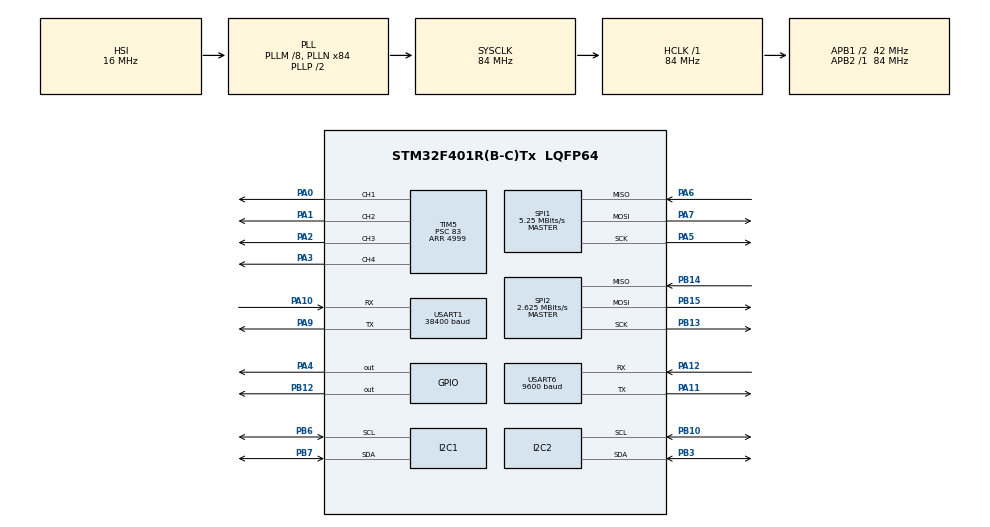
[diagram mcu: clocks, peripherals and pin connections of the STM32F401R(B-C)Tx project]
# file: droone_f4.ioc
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Dma.Request0=USART6_RX
Dma.Request1=USART6_TX
Dma.USART6_RX.0.Direction=DMA_PERIPH_TO_MEMORY
Dma.USART6_RX.0.FIFOMode=DMA_FIFOMODE_DISABLE
Dma.USART6_RX.0.Instance=DMA2_Stream1
Dma.USART6_RX.0.MemDataAlignment=DMA_MDATAALIGN_BYTE
Dma.USART6_RX.0.MemInc=DMA_MINC_ENABLE
Dma.USART6_RX.0.Mode=DMA_NORMAL
Dma.USART6_RX.0.PeriphDataAlignment=DMA_PDATAALIGN_BYTE
Dma.USART6_RX.0.PeriphInc=DMA_PINC_DISABLE
Dma.USART6_RX.0.Priority=DMA_PRIORITY_LOW
Dma.USART6_TX.1.Direction=DMA_MEMORY_TO_PERIPH
Dma.USART6_TX.1.FIFOMode=DMA_FIFOMODE_DISABLE
Dma.USART6_TX.1.Instance=DMA2_Stream6
Dma.USART6_TX.1.MemDataAlignment=DMA_MDATAALIGN_BYTE
Dma.USART6_TX.1.MemInc=DMA_MINC_ENABLE
Dma.USART6_TX.1.Mode=DMA_NORMAL
Dma.USART6_TX.1.PeriphDataAlignment=DMA_PDATAALIGN_BYTE
Dma.USART6_TX.1.PeriphInc=DMA_PINC_DISABLE
Dma.USART6_TX.1.Priority=DMA_PRIORITY_LOW
Mcu.Family=STM32F4
Mcu.Name=STM32F401R(B-C)Tx
Mcu.Package=LQFP64
NVIC.DMA2_Stream1_IRQn=true\:0\:0\:false\:false\:true\:false\:true\:true
NVIC.DMA2_Stream6_IRQn=true\:0\:0\:false\:false\:true\:false\:true\:true
NVIC.PriorityGroup=NVIC_PRIORITYGROUP_4
NVIC.USART1_IRQn=true\:0\:0\:false\:false\:true\:true\:true\:true
NVIC.USART6_IRQn=true\:0\:0\:false\:false\:true\:false\:true\:true
PA0-WKUP.Signal=S_TIM5_CH1
PA1.Signal=S_TIM5_CH2
PA10.Mode=Asynchronous
PA10.Signal=USART1_RX
PA11.Mode=Asynchronous
PA11.Signal=USART6_TX
PA12.Mode=Asynchronous
PA12.Signal=USART6_RX
PA13.Mode=Serial_Wire
PA13.Signal=SYS_JTMS-SWDIO
PA14.Mode=Serial_Wire
PA14.Signal=SYS_JTCK-SWCLK
PA2.Signal=S_TIM5_CH3
PA3.Signal=S_TIM5_CH4
PA4.GPIO_PuPd=GPIO_NOPULL
PA4.PinState=GPIO_PIN_SET
PA4.Signal=GPIO_Output
PA5.Mode=Full_Duplex_Master
PA5.Signal=SPI1_SCK
PA6.Mode=Full_Duplex_Master
PA6.Signal=SPI1_MISO
PA7.Mode=Full_Duplex_Master
PA7.Signal=SPI1_MOSI
PA9.Mode=Asynchronous
PA9.Signal=USART1_TX
PB10.Mode=I2C
PB10.Signal=I2C2_SCL
PB12.GPIO_PuPd=GPIO_NOPULL
PB12.PinState=GPIO_PIN_SET
PB12.Signal=GPIO_Output
PB13.Mode=Full_Duplex_Master
PB13.Signal=SPI2_SCK
PB14.Mode=Full_Duplex_Master
PB14.Signal=SPI2_MISO
PB15.Mode=Full_Duplex_Master
PB15.Signal=SPI2_MOSI
PB3.Mode=I2C
PB3.Signal=I2C2_SDA
PB6.Mode=I2C
PB6.Signal=I2C1_SCL
PB7.Mode=I2C
PB7.Signal=I2C1_SDA
PH0\ -\ OSC_IN.Mode=HSE-External-Oscillator
PH0\ -\ OSC_IN.Signal=RCC_OSC_IN
PH1\ -\ OSC_OUT.Mode=HSE-External-Oscillator
PH1\ -\ OSC_OUT.Signal=RCC_OSC_OUT
ProjectManager.HeapSize=0x200
ProjectManager.StackSize=0x400
ProjectManager.TargetToolchain=STM32CubeIDE
RCC.48MHZClocksFreq_Value=42000000
RCC.AHBFreq_Value=84000000
RCC.APB1CLKDivider=RCC_HCLK_DIV2
RCC.APB1Freq_Value=42000000
RCC.APB1TimFreq_Value=84000000
RCC.APB2Freq_Value=84000000
RCC.APB2TimFreq_Value=84000000
RCC.CortexFreq_Value=84000000
RCC.HCLKFreq_Value=84000000
RCC.HSE_VALUE=25000000
RCC.HSI_VALUE=16000000
RCC.LSE_VALUE=32768
RCC.PLLM=8
RCC.PLLN=84
RCC.SYSCLKFreq_VALUE=84000000
RCC.SYSCLKSource=RCC_SYSCLKSOURCE_PLLCLK
RCC.VCOOutputFreq_Value=168000000
SH.S_TIM5_CH1.0=TIM5_CH1,PWM Generation1 CH1
SH.S_TIM5_CH2.0=TIM5_CH2,PWM Generation2 CH2
SH.S_TIM5_CH3.0=TIM5_CH3,PWM Generation3 CH3
SH.S_TIM5_CH4.0=TIM5_CH4,PWM Generation4 CH4
SPI1.BaudRatePrescaler=SPI_BAUDRATEPRESCALER_16
SPI1.CalculateBaudRate=5.25 MBits/s
SPI1.Direction=SPI_DIRECTION_2LINES
SPI1.Mode=SPI_MODE_MASTER
SPI1.VirtualType=VM_MASTER
SPI2.BaudRatePrescaler=SPI_BAUDRATEPRESCALER_16
SPI2.CLKPhase=SPI_PHASE_2EDGE
SPI2.CLKPolarity=SPI_POLARITY_HIGH
SPI2.CalculateBaudRate=2.625 MBits/s
SPI2.Direction=SPI_DIRECTION_2LINES
SPI2.Mode=SPI_MODE_MASTER
SPI2.VirtualType=VM_MASTER
TIM5.Channel-PWM\ Generation1\ CH1=TIM_CHANNEL_1
TIM5.Channel-PWM\ Generation2\ CH2=TIM_CHANNEL_2
TIM5.Channel-PWM\ Generation3\ CH3=TIM_CHANNEL_3
TIM5.Channel-PWM\ Generation4\ CH4=TIM_CHANNEL_4
TIM5.Period=4999
TIM5.Prescaler=83
USART1.BaudRate=38400
USART1.VirtualMode=VM_ASYNC
USART6.BaudRate=9600
USART6.VirtualMode=VM_ASYNC
board=custom

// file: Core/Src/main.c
/* USER CODE BEGIN Header */
/**
 ******************************************************************************
 * @file           : main.c
 * @brief          : Main program body
 ******************************************************************************
 * @attention
 *
 * Copyright (c) 2026 STMicroelectronics.
 * All rights reserved.
 *
 * This software is licensed under terms that can be found in the LICENSE file
 * in the root directory of this software component.
 * If no LICENSE file comes with this software, it is provided AS-IS.
 *
 ******************************************************************************
 */
/* USER CODE END Header */
#include "main.h"

/* USER CODE BEGIN Includes */
#include "e220.h"
#include "icm42670.h"
#include "gps.h"
#include "mmc5983ma.h"
#include "angle_controller.h"
#include "rate_controller.h"
#include "mixer.h"
#include "mahony.h"
#include "drone_link.h"
#include "dps310.h"
#include "altitude_hold.h"
#include "flight_mode.h"

#include "stdio.h"
#include "string.h"
#include "stdlib.h"
#include "stdint.h"
#include <math.h>
/* USER CODE END Includes */

/* USER CODE BEGIN PD */
#define CONTROL_RATE_HZ 500U
#define CONTROL_MIN_DT_US 500U
#define CONTROL_MAX_DT_US 10000U
/* MMC: 25 Hz, chia làm hai pha không dùng HAL_Delay trong PID 500 Hz. */
#define MAG_PERIOD_MS 40U
#define MAG_CONVERSION_WAIT_MS 4U
#define MAG_MEAS_TIMEOUT_MS 25U
#define MAG_FRESH_TIMEOUT_MS 300U
#define MAG_FILTER_ALPHA 0.12f
#define MAG_MAX_JUMP_DEG 35.0f
/* Offset phần cứng MMC đã dùng trong chương trình đo heading trước đây (Gauss).
 * Cần hiệu chuẩn lại XYZ/hard-iron/soft-iron trên drone đã lắp hoàn chỉnh. */
#define MAG_OFFSET_X_G 0.20172f
#define MAG_OFFSET_Y_G 0.328185f
#define MAG_OFFSET_Z_G 0.0f
#define RAD_TO_DEG 57.295779513f
/* Hiệu chuẩn gyro khi đứng yên trước khi bắt đầu điều khiển. */
#define GYRO_CAL_SAMPLES 500U
#define GYRO_CAL_DELAY_MS 2U
#define GYRO_CAL_RETRIES 3U
#define GYRO_CAL_MAX_STD_DPS 0.75f
#define GYRO_CAL_MAX_BIAS_DPS 3.0f
/* USER CODE END PD */

I2C_HandleTypeDef hi2c1;
I2C_HandleTypeDef hi2c2;

SPI_HandleTypeDef hspi1;
SPI_HandleTypeDef hspi2;

TIM_HandleTypeDef htim5;

UART_HandleTypeDef huart1;
UART_HandleTypeDef huart6;
DMA_HandleTypeDef hdma_usart6_rx;
DMA_HandleTypeDef hdma_usart6_tx;

/* USER CODE BEGIN PV */
/*===Khai báo lora*/
E220_t lora;

volatile uint32_t e220_uart_tx_drone = 0;

/*Khai báo magnetometer*/
MMC5983MA_t mmc;
float mx, my, mz;
HAL_StatusTypeDef mmc_status;

/*Khai báo IMU*/
ICM42670_t icm;
ICM42670_Data_t imu;

/* Khai báo baro*/
DPS310_t dps310;

/* Truc dung AUTO (T mode 2): may trang thai ga trong flight_mode.c
 * (arm, cat canh, giu do cao, ha canh, khan cap). Doc lap PID Roll/Pitch/Yaw. */
FlightMode_t flight;
static int16_t climb_cmd = 0; /* climb thuc dung (co failsafe) */
/* Phai lon hon DRONE_LINK_CLIMB_TIMEOUT_MS (mat 1 phien khong duoc kich failsafe).
 * Voi REPLY_TIMEOUT_MS 1300 ben ESP32: 1 T mat -> khoang T ~2.7 s < 3.0 s,
 * 2 T mat lien tiep (~4.0 s) moi vao failsafe. */
#define LINK_LOST_MS 3000U
#define FAILSAFE_CLIMB (-60) /* 0.24 m/s */
/* Mat IMU lien tiep -> cat motor (khong giu PWM cu). 10 lan ~ 20 ms. */
#define IMU_FAIL_CUT_COUNT 10U
static uint32_t imu_fail_count = 0U;

/*Bộ lọc mahony*/
Mahony_t mahony;

AngleController_t angle_ctrl;
RateController_t rate_ctrl;

/*mixer motor*/
MotorMixer_t motor;

DroneLink_t drone_link;
float roll_deg, pitch_deg, yaw_deg;
float mahony_yaw_deg;  /* Chỉ debug, yaw điều khiển lấy MMC + gyro */
float mag_heading_deg; /* Heading MMC theo atan2(+Y, +X), 0..360 */
float mag_yaw_deg;	   /* Heading MMC đã đổi dấu theo yaw gyro */
float yaw_target_deg;  /* Chốt khi chuyển ga 1000 -> >1000 */
float roll_rate_sp, pitch_rate_sp, yaw_rate_sp;
static uint8_t yaw_estimate_valid;
static uint8_t yaw_target_latched;
static uint8_t mag_pending;
static uint32_t mag_next_tick, mag_start_tick, mag_last_good_tick;
static uint32_t mag_ok_count, mag_error_count, mag_rejected_count;

float roll_pid, pitch_pid, yaw_pid;

float throttle = 1000;

/* USER CODE END PV */

void SystemClock_Config(void);
static void MX_GPIO_Init(void);
static void MX_DMA_Init(void);
static void MX_I2C1_Init(void);
static void MX_I2C2_Init(void);
static void MX_SPI1_Init(void);
static void MX_SPI2_Init(void);
static void MX_TIM5_Init(void);
static void MX_USART1_UART_Init(void);
static void MX_USART6_UART_Init(void);

/* USER CODE BEGIN 0 */
/* Chỉ chấp nhận bias gyro khi FC đứng yên để có mốc tốc độ quay đúng cho điều khiển. */
static ICM42670_Status_t Gyro_CalibrateIfStationary(ICM42670_t *dev)
{
	if (dev == NULL)
		return ICM42670_ERROR;
	for (uint32_t attempt = 1U; attempt <= GYRO_CAL_RETRIES; ++attempt)
	{
		float sx = 0.0f, sy = 0.0f, sz = 0.0f;
		float sx2 = 0.0f, sy2 = 0.0f, sz2 = 0.0f;
		ICM42670_Data_t reading;
		for (uint32_t i = 0U; i < GYRO_CAL_SAMPLES; ++i)
		{
			ICM42670_Status_t st = ICM42670_ReadAll(&reading);
			if (st != ICM42670_OK)
				return st;
			float x = reading.gx_dps, y = reading.gy_dps, z = reading.gz_dps;
			sx += x;
			sy += y;
			sz += z;
			sx2 += x * x;
			sy2 += y * y;
			sz2 += z * z;
			HAL_Delay(GYRO_CAL_DELAY_MS);
		}
		const float inv = 1.0f / (float)GYRO_CAL_SAMPLES;
		const float bx = sx * inv, by = sy * inv, bz = sz * inv;
		const float std_x = sqrtf(fmaxf(0.0f, sx2 * inv - bx * bx));
		const float std_y = sqrtf(fmaxf(0.0f, sy2 * inv - by * by));
		const float std_z = sqrtf(fmaxf(0.0f, sz2 * inv - bz * bz));
		const uint8_t valid =
			isfinite(bx) && isfinite(by) && isfinite(bz) &&
			std_x <= GYRO_CAL_MAX_STD_DPS &&
			std_y <= GYRO_CAL_MAX_STD_DPS &&
			std_z <= GYRO_CAL_MAX_STD_DPS &&
			fabsf(bx) <= GYRO_CAL_MAX_BIAS_DPS &&
			fabsf(by) <= GYRO_CAL_MAX_BIAS_DPS &&
			fabsf(bz) <= GYRO_CAL_MAX_BIAS_DPS;
		if (valid)
		{
			dev->gyro_bias_x_dps = bx;
			dev->gyro_bias_y_dps = by;
			dev->gyro_bias_z_dps = bz;
			return ICM42670_OK;
		}
		HAL_Delay(300U);
	}
	/* Never arm with an invalid gyro zero-rate reference. */
	return ICM42670_ERROR;
}

/** @brief Ghi bốn lệnh motor theo thứ tự M1..M4. */
static void Motors_Write(void)
{
	__HAL_TIM_SET_COMPARE(&htim5, TIM_CHANNEL_1, motor.m1);
	__HAL_TIM_SET_COMPARE(&htim5, TIM_CHANNEL_2, motor.m2);
	__HAL_TIM_SET_COMPARE(&htim5, TIM_CHANNEL_3, motor.m3);
	__HAL_TIM_SET_COMPARE(&htim5, TIM_CHANNEL_4, motor.m4);
}

/** @brief Tra loi goi T (chi khi co T dang cho): S/G/M theo chu ky. */
static void Send_Status(void)
{
	DroneLinkStatus_t st;
	float thr = throttle;
	if (!isfinite(thr) || thr < 1000.0f)
		thr = 1000.0f;
	else if (thr > (float)DRONE_LINK_MAX_THR)
		thr = (float)DRONE_LINK_MAX_THR;
	st.throttle_us = (uint16_t)(thr + 0.5f);
	st.roll_deg = roll_deg;
	st.pitch_deg = pitch_deg;
	st.yaw_deg = yaw_deg;
	st.m1 = motor.m1;
	st.m2 = motor.m2;
	st.m3 = motor.m3;
	st.m4 = motor.m4;
	st.flight_state = (uint8_t)flight.state;
	st.altitude_m = isfinite(dps310.altitude_rel_m) ? dps310.altitude_rel_m : 0.0f;
	st.alt_exit_reason = flight.exit_reason;
	(void)DroneLink_SendStatus(&drone_link, &st);
}

/* Chuẩn góc yaw 0..360 và sai số ngắn nhất -180..180 (độ). */
static float Yaw_Wrap360(float deg)
{
	deg = fmodf(deg, 360.0f);
	return (deg < 0.0f) ? deg + 360.0f : deg;
}
static float Yaw_Wrap180(float deg)
{
	return Yaw_Wrap360(deg + 180.0f) - 180.0f;
}

/* Gọi ở 500 Hz: gyro cung cấp biến thiên nhanh, MMC neo heading dài hạn. */
static void Yaw_IntegrateGyro(float gyro_z_dps, float dt)
{
	if (yaw_estimate_valid && isfinite(gyro_z_dps) && isfinite(dt))
	{
		yaw_deg = Yaw_Wrap360(yaw_deg + gyro_z_dps * dt);
	}
}

/* Đọc MMC ở tần số thấp, KHÔNG poll chờ/HAL_Delay bên trong.
 * Chỉ đúng công thức khi trục X/Y/Z MMC cùng chiều trục X/Y/Z IMU.
 * Nếu lắp xoay khác chiều, cần hoán đổi/đổi dấu trục trước khi bù nghiêng. */
static void Mag_Service(void)
{
	uint32_t now = HAL_GetTick();
	if (!mag_pending)
	{
		if ((int32_t)(now - mag_next_tick) < 0)
			return;
		mmc_status = MMC5983_StartMeasurement(&mmc);
		if (mmc_status == HAL_OK)
		{
			mag_pending = 1U;
			mag_start_tick = now;
		}
		else
		{
			++mag_error_count;
			mag_next_tick = now + MAG_PERIOD_MS;
		}
		return;
	}
	if ((now - mag_start_tick) < MAG_CONVERSION_WAIT_MS)
		return;
	mmc_status = MMC5983_ReadMagIfReady(&mmc, &mx, &my, &mz);
	if (mmc_status == HAL_BUSY && (now - mag_start_tick) < MAG_MEAS_TIMEOUT_MS)
		return;
	mag_pending = 0U;
	mag_next_tick = now + MAG_PERIOD_MS;
	if (mmc_status != HAL_OK)
	{
		++mag_error_count;
		return;
	}

	float bx = mx - MAG_OFFSET_X_G;
	float by = my - MAG_OFFSET_Y_G;
	float bz = mz - MAG_OFFSET_Z_G;
	float norm2 = bx * bx + by * by + bz * bz;
	/* Đánh giá sơ bộ độ lớn từ trường: chưa thay thế hiệu chuẩn chính xác. */
	if (!isfinite(norm2) || norm2 < 0.01f || norm2 > 4.0f ||
		!isfinite(roll_deg) || !isfinite(pitch_deg))
	{
		++mag_rejected_count;
		return;
	}

	float r = roll_deg / RAD_TO_DEG;
	float p = pitch_deg / RAD_TO_DEG;
	float sr = sinf(r), cr = cosf(r), sp = sinf(p), cp = cosf(p);
	/* Bù roll/pitch theo Euler ZYX. */
	float hx = bx * cp + by * sr * sp + bz * cr * sp;
	float hy = by * cr - bz * sr;
	if (!isfinite(hx) || !isfinite(hy) || hx * hx + hy * hy < 0.001f)
	{
		++mag_rejected_count;
		return;
	}
	mag_heading_deg = Yaw_Wrap360(atan2f(hy, hx) * RAD_TO_DEG);
	/* Khi quay thân +yaw (gyro Z dương), vector địa từ trên MMC quay -yaw.
	 Đổi dấu để yaw từ MMC CÙNG CHIỀU với yaw gyro/Mahony. */
	mag_yaw_deg = Yaw_Wrap360(-mag_heading_deg);
	if (!yaw_estimate_valid || (now - mag_last_good_tick) > 1000U)
	{
		/* Sau khởi động/mất MMC lâu: lấy lại mốc heading, không PID vào mốc cũ. */
		yaw_deg = mag_yaw_deg;
		yaw_estimate_valid = 1U;
		yaw_target_latched = 0U;
	}
	else
	{
		float delta = Yaw_Wrap180(mag_yaw_deg - yaw_deg);
		if (fabsf(delta) > MAG_MAX_JUMP_DEG)
		{
			++mag_rejected_count;
			return;
		}
		yaw_deg = Yaw_Wrap360(yaw_deg + MAG_FILTER_ALPHA * delta);
	}
	mag_last_good_tick = now;
	++mag_ok_count;
}

/* IWDG bang thanh ghi (HAL IWDG khong co trong project).
 * LSI ~32 kHz (datasheet F401: 17..47 kHz), /32 -> ~1 kHz, reload 499
 * -> timeout danh dinh ~0.5 s (khoang 0.34..0.94 s theo sai so LSI).
 * Lon hon blocking xau nhat trong vong chinh (SPI ICM timeout 2 x 100 ms).
 * Bat SAU khoi tao (hieu chuan gyro/baro co HAL_Delay dai). Khi reset do
 * watchdog, chan PWM ve input -> ESC mat xung -> motor dung (ESC failsafe):
 * van tot hon PWM dong bang khong co dieu khien tu the. */
static void Watchdog_Start(void)
{
	DBGMCU->APB1FZ |= DBGMCU_APB1_FZ_DBG_IWDG_STOP; /* dung IWDG khi debug halt */
	IWDG->KR = 0xCCCCU; /* bat IWDG (khong tat lai duoc) */
	IWDG->KR = 0x5555U; /* mo khoa PR/RLR */
	IWDG->PR = 3U;      /* /32 */
	IWDG->RLR = 499U;
	uint32_t start = HAL_GetTick();
	while (IWDG->SR != 0U && (HAL_GetTick() - start) < 50U)
	{
	}
	IWDG->KR = 0xAAAAU;
}

/* USER CODE END 0 */

int main(void)
{

	/* MCU Configuration--------------------------------------------------------*/

	/* Reset of all peripherals, Initializes the Flash interface and the Systick. */
	HAL_Init();

	/* Configure the system clock */
	SystemClock_Config();

	/* Initialize all configured peripherals */
	MX_GPIO_Init();
	MX_DMA_Init();
	MX_I2C1_Init();
	MX_I2C2_Init();
	MX_SPI1_Init();
	MX_SPI2_Init();
	MX_TIM5_Init();
	MX_USART1_UART_Init();
	MX_USART6_UART_Init();
	/* USER CODE BEGIN 2 */

	/* MMC được khởi tạo một lần. KHÔNG chạy vòng while in heading test. */
	HAL_Delay(20U);
	mmc.hi2c = &hi2c1;
	mmc_status = MMC5983_Init(&mmc);
	if (mmc_status != HAL_OK)
	{
		Error_Handler();
	}
	mag_next_tick = HAL_GetTick();

	if (ICM42670_Init(&icm) != ICM42670_OK)
	{
		Error_Handler();
	}

	if (Gyro_CalibrateIfStationary(&icm) != ICM42670_OK)
	{
		Error_Handler();
	}

	if (DPS310_Init(&dps310, &hspi2,
					GPIOB,
					GPIO_PIN_12) != HAL_OK)
	{
		Error_Handler();
	}

	HAL_TIM_PWM_Start(&htim5, TIM_CHANNEL_1);
	HAL_TIM_PWM_Start(&htim5, TIM_CHANNEL_2);
	HAL_TIM_PWM_Start(&htim5, TIM_CHANNEL_3);
	HAL_TIM_PWM_Start(&htim5, TIM_CHANNEL_4);

	__HAL_TIM_SET_COMPARE(&htim5, TIM_CHANNEL_1, 1000);
	__HAL_TIM_SET_COMPARE(&htim5, TIM_CHANNEL_2, 1000);
	__HAL_TIM_SET_COMPARE(&htim5, TIM_CHANNEL_3, 1000);
	__HAL_TIM_SET_COMPARE(&htim5, TIM_CHANNEL_4, 1000);

	uint32_t baro_cal_start = HAL_GetTick();

	while ((HAL_GetTick() - baro_cal_start) < 4000U)
	{
		DPS310_ReadIfReady(&dps310);
		HAL_Delay(5U);
	}

	if (!dps310.home_valid)
	{

		Error_Handler();
	}

	const uint16_t tilt_samples = 100U;
	float ax_sum = 0.0f;
	float ay_sum = 0.0f;
	float az_sum = 0.0f;

	for (uint16_t i = 0U; i < tilt_samples; ++i)
	{
		if (ICM42670_ReadAll(&imu) != ICM42670_OK)
		{
			Error_Handler();
		}
		ax_sum += imu.ax_g;
		ay_sum += imu.ay_g;
		az_sum += imu.az_g;
		HAL_Delay(2U);
	}
	if (!Mahony_InitFromAccel(&mahony, ax_sum / tilt_samples,
							  ay_sum / tilt_samples, az_sum / tilt_samples))
	{
		Error_Handler();
	}
	Mahony_GetEuler(&mahony, &roll_deg, &pitch_deg, &mahony_yaw_deg);
	AngleController_Init(&angle_ctrl);
	RateController_Init(&rate_ctrl);

	if (E220_Init(&lora, &huart6) != HAL_OK)
	{
		Error_Handler();
	}

	DroneLink_Init(&drone_link, &lora, &angle_ctrl, &rate_ctrl);
	/* Use the existing USART1 38400 8N1 settings. GPS is optional for flight.
	 * stm32f4xx_it.c must provide USART1_IRQHandler -> HAL_UART_IRQHandler. */
	HAL_NVIC_SetPriority(USART1_IRQn, 6U, 0U);
	HAL_NVIC_EnableIRQ(USART1_IRQn);
	(void)GPS_Init(&huart1);
	FlightMode_Init(&flight);
	motor.m1 = motor.m2 = motor.m3 = motor.m4 = 1000U;

	/* DWT có trên Cortex-M4: đo dt bằng chu kỳ CPU, không lượng tử hóa 1 ms.
	 * Phép trừ uint32_t vẫn đúng qua lần tràn CYCCNT. TIM5 chỉ xuất PWM ESC. */
	const uint32_t control_clock_hz = SystemCoreClock;
	const uint32_t control_period_cycles = control_clock_hz / CONTROL_RATE_HZ;
	const uint32_t control_cycles_per_us = control_clock_hz / 1000000U;
	CoreDebug->DEMCR |= CoreDebug_DEMCR_TRCENA_Msk;
	DWT->CYCCNT = 0U;
	DWT->CTRL |= DWT_CTRL_CYCCNTENA_Msk;
	uint32_t last_control_cycles = DWT->CYCCNT;
	uint32_t last_sample_cycles = last_control_cycles;

	Watchdog_Start();

	/* USER CODE END 2 */

	/* Infinite loop */
	/* USER CODE BEGIN WHILE */
	while (1)
	{
		IWDG->KR = 0xAAAAU; /* kick watchdog: vong chinh con chay */
		DroneLink_Poll(&drone_link);
		GPS_Process(); /* Decode queued RMC/GGA outside UART IRQ. */

		uint32_t now_cycles = DWT->CYCCNT;
		uint32_t elapsed_cycles = now_cycles - last_control_cycles;
		if (elapsed_cycles < control_period_cycles)
		{
			continue;
		}

		last_control_cycles = now_cycles;
		elapsed_cycles = now_cycles - last_sample_cycles;
		if (elapsed_cycles > control_cycles_per_us * CONTROL_MAX_DT_US)
		{
			/* Không đưa khoảng gián đoạn dài vào cả Mahony lẫn PID. */
			last_sample_cycles = now_cycles;
			continue;
		}

		/* ================= IMU ================= */

		if (ICM42670_ReadAll(&imu) != ICM42670_OK)
		{
			if (++imu_fail_count >= IMU_FAIL_CUT_COUNT)
			{
				/* Khong co IMU = khong giu duoc tu the: khong de PWM cu chay mai.
				 * Duong duy nhat (cung voi DUNG) cat ga theo buoc. */
				FlightMode_Kill(&flight, ALT_EXIT_IMU);
				throttle = 1000.0f;
				motor.m1 = motor.m2 = motor.m3 = motor.m4 = 1000U;
				Motors_Write();
			}
			last_control_cycles = last_sample_cycles = DWT->CYCCNT;
			Send_Status();
			continue;
		}
		imu_fail_count = 0U;

		/* dt là khoảng cách giữa các mẫu đã đọc xong, kể cả trễ SPI thực tế. */
		uint32_t sample_cycles = DWT->CYCCNT;
		elapsed_cycles = sample_cycles - last_sample_cycles;
		last_sample_cycles = sample_cycles;
		if (elapsed_cycles < control_cycles_per_us * CONTROL_MIN_DT_US || elapsed_cycles > control_cycles_per_us * CONTROL_MAX_DT_US)
		{
			last_control_cycles = sample_cycles;
			continue;
		}
		float dt = (float)elapsed_cycles / (float)control_clock_hz;

		ICM42670_ApplyCalibration(&icm, &imu);

		/* ================= MAHONY ================= */

		Mahony_Update(&mahony, imu.gx_dps, imu.gy_dps, imu.gz_dps, imu.ax_g,
					  imu.ay_g, imu.az_g, dt);

		Mahony_GetEuler(&mahony, &roll_deg, &pitch_deg, &mahony_yaw_deg);
		Yaw_IntegrateGyro(imu.gz_dps, dt);

		/*
		 * Nếu IMU gắn khác chiều
		 * thì đổi dấu tại đây
		 */

		// roll_deg  = -roll_deg;
		// pitch_deg = -pitch_deg;

		/* DPS310 32 Hz: doc toi da moi 10 ms, TRUOC buoc truc dung de mau moi
		 * duoc dung ngay trong chu ky nay. */
		static uint32_t last_baro_tick = 0U;
		uint8_t baro_new = 0U;
		const uint32_t alt_now_ms = HAL_GetTick();
		if ((alt_now_ms - last_baro_tick) >= 10U)
		{
			last_baro_tick = alt_now_ms;
			baro_new = (DPS310_ReadIfReady(&dps310) == HAL_OK) ? 1U : 0U;
		}
		const uint8_t baro_healthy = dps310.home_valid && dps310.valid && (alt_now_ms - dps310.last_update_ms <= 180U) && isfinite(dps310.altitude_rel_m);

		const uint8_t auto_mode = drone_link.auto_requested ? 1U : 0U;
		/* Failsafe: mat T qua LINK_LOST_MS -> ha co kiem soat qua vong ALT. */
		const uint8_t link_lost =
			(uint32_t)(alt_now_ms - drone_link.last_throttle_ms) > LINK_LOST_MS;
		if (auto_mode)
			climb_cmd = link_lost ? (int16_t)FAILSAFE_CLIMB
								  : DroneLink_ClimbCommand(&drone_link);
		else
			climb_cmd = 0;

		FlightInputs_t fin;
		fin.now_ms = alt_now_ms;
		fin.dt_s = dt;
		fin.auto_mode = auto_mode;
		fin.link_lost = link_lost;
		fin.climb_cmd = climb_cmd;
		fin.baro_healthy = baro_healthy;
		fin.baro_new = baro_new;
		fin.baro_alt_m = dps310.altitude_rel_m;
		fin.baro_sample_ms = dps310.last_update_ms;
		fin.accel_norm_g = sqrtf(imu.ax_g * imu.ax_g + imu.ay_g * imu.ay_g + imu.az_g * imu.az_g);
		FlightMode_Step(&flight, &fin);
		throttle = flight.throttle_us;
		/* Lenh nghieng/yaw tu LoRa chi tac dong khi da roi dat. */
		const uint8_t att_cmd_ok = FlightMode_AttitudeCmdEnabled(&flight);

		if (throttle > 1000.0f)
		{
			/* Mặc định: góc P -> tốc độ PI. Giữ nguyên dấu IMU và mixer. */
			AngleController_Update(&angle_ctrl,
								   att_cmd_ok ? (float)DroneLink_RollCommand(&drone_link) : 0.0f,
								   att_cmd_ok ? (float)DroneLink_PitchCommand(&drone_link) : 0.0f,
								   roll_deg, pitch_deg,
								   dt, &roll_rate_sp, &pitch_rate_sp);
			/* Yaw setpoint là hướng MMC ở thời điểm BẮT ĐẦU lên ga.
			 * Không cập nhật setpoint theo góc hiện tại khi đang bay. */
			uint32_t mag_age = HAL_GetTick() - mag_last_good_tick;
			uint8_t mag_fresh = yaw_estimate_valid && (mag_age <= MAG_FRESH_TIMEOUT_MS);
			if (mag_fresh && !yaw_target_latched)
			{
				yaw_target_deg = yaw_deg;
				yaw_target_latched = 1U;
				PID_Reset(&angle_ctrl.yaw);
				PID_Reset(&rate_ctrl.yaw);
			}
			if (mag_fresh && yaw_target_latched)
			{
				/* Can trai ngang = toc do yaw; tha can thi yaw PID
				 * giu huong hien tai. */
				if (att_cmd_ok)
					yaw_target_deg = Yaw_Wrap360(yaw_target_deg +
												 (float)DroneLink_YawRateCommand(&drone_link) * dt);
				yaw_rate_sp = AngleController_UpdateYaw(&angle_ctrl,
														yaw_target_deg, yaw_deg, dt);
			}
			else
			{
				/* MMC lỗi/stale: bỏ yaw holding, không tác động dựa trên hướng cũ. */
				yaw_rate_sp = 0.0f;
				yaw_target_latched = 0U;
				PID_Reset(&angle_ctrl.yaw);
				PID_Reset(&rate_ctrl.yaw);
			}
			RateController_Update(&rate_ctrl, roll_rate_sp, pitch_rate_sp,
								  yaw_rate_sp, imu.gx_dps, imu.gy_dps, imu.gz_dps, dt,
								  &roll_pid, &pitch_pid, &yaw_pid);
			if (!mag_fresh)
				yaw_pid = 0.0f;

			Mixer_QuadX(throttle, roll_pid, pitch_pid, yaw_pid, &motor);
		}
		else
		{
			motor.m1 = motor.m2 = motor.m3 = motor.m4 = 1000U;
			/* Motor dung: lan len ga sau chot lai huong HIEN TAI va xoa
			 * tich phan/D cu, khong mang trang thai chuyen bay truoc. */
			yaw_target_latched = 0U;
			PID_Reset(&angle_ctrl.roll);
			PID_Reset(&angle_ctrl.pitch);
			PID_Reset(&angle_ctrl.yaw);
			PID_Reset(&rate_ctrl.roll);
			PID_Reset(&rate_ctrl.pitch);
			PID_Reset(&rate_ctrl.yaw);
		}

		Motors_Write();
		/* Xử lý MMC sau PWM; cập nhật yaw fused cho chu kỳ điều khiển kế. */
		Mag_Service();

		Send_Status();

		/* UART1 RX is reserved for GPS: no outgoing debug logs on this port. */

		/* USER CODE END WHILE */

	}
}

void SystemClock_Config(void)
{
	RCC_OscInitTypeDef RCC_OscInitStruct = {0};
	RCC_ClkInitTypeDef RCC_ClkInitStruct = {0};

	/** Configure the main internal regulator output voltage
	 */
	__HAL_RCC_PWR_CLK_ENABLE();
	__HAL_PWR_VOLTAGESCALING_CONFIG(PWR_REGULATOR_VOLTAGE_SCALE2);

	/** Initializes the RCC Oscillators according to the specified parameters
	 * in the RCC_OscInitTypeDef structure.
	 */
	RCC_OscInitStruct.OscillatorType = RCC_OSCILLATORTYPE_HSI;
	RCC_OscInitStruct.HSIState = RCC_HSI_ON;
	RCC_OscInitStruct.HSICalibrationValue = RCC_HSICALIBRATION_DEFAULT;
	RCC_OscInitStruct.PLL.PLLState = RCC_PLL_ON;
	RCC_OscInitStruct.PLL.PLLSource = RCC_PLLSOURCE_HSI;
	RCC_OscInitStruct.PLL.PLLM = 8;
	RCC_OscInitStruct.PLL.PLLN = 84;
	RCC_OscInitStruct.PLL.PLLP = RCC_PLLP_DIV2;
	RCC_OscInitStruct.PLL.PLLQ = 4;
	if (HAL_RCC_OscConfig(&RCC_OscInitStruct) != HAL_OK)
	{
		Error_Handler();
	}

	/** Initializes the CPU, AHB and APB buses clocks
	 */
	RCC_ClkInitStruct.ClockType = RCC_CLOCKTYPE_HCLK | RCC_CLOCKTYPE_SYSCLK | RCC_CLOCKTYPE_PCLK1 | RCC_CLOCKTYPE_PCLK2;
	RCC_ClkInitStruct.SYSCLKSource = RCC_SYSCLKSOURCE_PLLCLK;
	RCC_ClkInitStruct.AHBCLKDivider = RCC_SYSCLK_DIV1;
	RCC_ClkInitStruct.APB1CLKDivider = RCC_HCLK_DIV2;
	RCC_ClkInitStruct.APB2CLKDivider = RCC_HCLK_DIV1;

	if (HAL_RCC_ClockConfig(&RCC_ClkInitStruct, FLASH_LATENCY_2) != HAL_OK)
	{
		Error_Handler();
	}
}

static void MX_I2C1_Init(void)
{

	hi2c1.Instance = I2C1;
	hi2c1.Init.ClockSpeed = 100000;
	hi2c1.Init.DutyCycle = I2C_DUTYCYCLE_2;
	hi2c1.Init.OwnAddress1 = 0;
	hi2c1.Init.AddressingMode = I2C_ADDRESSINGMODE_7BIT;
	hi2c1.Init.DualAddressMode = I2C_DUALADDRESS_DISABLE;
	hi2c1.Init.OwnAddress2 = 0;
	hi2c1.Init.GeneralCallMode = I2C_GENERALCALL_DISABLE;
	hi2c1.Init.NoStretchMode = I2C_NOSTRETCH_DISABLE;
	if (HAL_I2C_Init(&hi2c1) != HAL_OK)
	{
		Error_Handler();
	}
}

static void MX_I2C2_Init(void)
{

	hi2c2.Instance = I2C2;
	hi2c2.Init.ClockSpeed = 100000;
	hi2c2.Init.DutyCycle = I2C_DUTYCYCLE_2;
	hi2c2.Init.OwnAddress1 = 0;
	hi2c2.Init.AddressingMode = I2C_ADDRESSINGMODE_7BIT;
	hi2c2.Init.DualAddressMode = I2C_DUALADDRESS_DISABLE;
	hi2c2.Init.OwnAddress2 = 0;
	hi2c2.Init.GeneralCallMode = I2C_GENERALCALL_DISABLE;
	hi2c2.Init.NoStretchMode = I2C_NOSTRETCH_DISABLE;
	if (HAL_I2C_Init(&hi2c2) != HAL_OK)
	{
		Error_Handler();
	}
}

static void MX_SPI1_Init(void)
{

	/* SPI1 parameter configuration*/
	hspi1.Instance = SPI1;
	hspi1.Init.Mode = SPI_MODE_MASTER;
	hspi1.Init.Direction = SPI_DIRECTION_2LINES;
	hspi1.Init.DataSize = SPI_DATASIZE_8BIT;
	hspi1.Init.CLKPolarity = SPI_POLARITY_LOW;
	hspi1.Init.CLKPhase = SPI_PHASE_1EDGE;
	hspi1.Init.NSS = SPI_NSS_SOFT;
	hspi1.Init.BaudRatePrescaler = SPI_BAUDRATEPRESCALER_16;
	hspi1.Init.FirstBit = SPI_FIRSTBIT_MSB;
	hspi1.Init.TIMode = SPI_TIMODE_DISABLE;
	hspi1.Init.CRCCalculation = SPI_CRCCALCULATION_DISABLE;
	hspi1.Init.CRCPolynomial = 10;
	if (HAL_SPI_Init(&hspi1) != HAL_OK)
	{
		Error_Handler();
	}
}

static void MX_SPI2_Init(void)
{

	/* SPI2 parameter configuration*/
	hspi2.Instance = SPI2;
	hspi2.Init.Mode = SPI_MODE_MASTER;
	hspi2.Init.Direction = SPI_DIRECTION_2LINES;
	hspi2.Init.DataSize = SPI_DATASIZE_8BIT;
	hspi2.Init.CLKPolarity = SPI_POLARITY_HIGH;
	hspi2.Init.CLKPhase = SPI_PHASE_2EDGE;
	hspi2.Init.NSS = SPI_NSS_SOFT;
	hspi2.Init.BaudRatePrescaler = SPI_BAUDRATEPRESCALER_16;
	hspi2.Init.FirstBit = SPI_FIRSTBIT_MSB;
	hspi2.Init.TIMode = SPI_TIMODE_DISABLE;
	hspi2.Init.CRCCalculation = SPI_CRCCALCULATION_DISABLE;
	hspi2.Init.CRCPolynomial = 10;
	if (HAL_SPI_Init(&hspi2) != HAL_OK)
	{
		Error_Handler();
	}
}

static void MX_TIM5_Init(void)
{

	TIM_MasterConfigTypeDef sMasterConfig = {0};
	TIM_OC_InitTypeDef sConfigOC = {0};

	htim5.Instance = TIM5;
	htim5.Init.Prescaler = 83;
	htim5.Init.CounterMode = TIM_COUNTERMODE_UP;
	htim5.Init.Period = 4999;
	htim5.Init.ClockDivision = TIM_CLOCKDIVISION_DIV1;
	htim5.Init.AutoReloadPreload = TIM_AUTORELOAD_PRELOAD_DISABLE;
	if (HAL_TIM_PWM_Init(&htim5) != HAL_OK)
	{
		Error_Handler();
	}
	sMasterConfig.MasterOutputTrigger = TIM_TRGO_RESET;
	sMasterConfig.MasterSlaveMode = TIM_MASTERSLAVEMODE_DISABLE;
	if (HAL_TIMEx_MasterConfigSynchronization(&htim5, &sMasterConfig) != HAL_OK)
	{
		Error_Handler();
	}
	sConfigOC.OCMode = TIM_OCMODE_PWM1;
	sConfigOC.Pulse = 0;
	sConfigOC.OCPolarity = TIM_OCPOLARITY_HIGH;
	sConfigOC.OCFastMode = TIM_OCFAST_DISABLE;
	if (HAL_TIM_PWM_ConfigChannel(&htim5, &sConfigOC, TIM_CHANNEL_1) != HAL_OK)
	{
		Error_Handler();
	}
	if (HAL_TIM_PWM_ConfigChannel(&htim5, &sConfigOC, TIM_CHANNEL_2) != HAL_OK)
	{
		Error_Handler();
	}
	if (HAL_TIM_PWM_ConfigChannel(&htim5, &sConfigOC, TIM_CHANNEL_3) != HAL_OK)
	{
		Error_Handler();
	}
	if (HAL_TIM_PWM_ConfigChannel(&htim5, &sConfigOC, TIM_CHANNEL_4) != HAL_OK)
	{
		Error_Handler();
	}
	HAL_TIM_MspPostInit(&htim5);
}

static void MX_USART1_UART_Init(void)
{

	huart1.Instance = USART1;
	huart1.Init.BaudRate = 38400;
	huart1.Init.WordLength = UART_WORDLENGTH_8B;
	huart1.Init.StopBits = UART_STOPBITS_1;
	huart1.Init.Parity = UART_PARITY_NONE;
	huart1.Init.Mode = UART_MODE_TX_RX;
	huart1.Init.HwFlowCtl = UART_HWCONTROL_NONE;
	huart1.Init.OverSampling = UART_OVERSAMPLING_16;
	if (HAL_UART_Init(&huart1) != HAL_OK)
	{
		Error_Handler();
	}
}

static void MX_USART6_UART_Init(void)
{

	huart6.Instance = USART6;
	huart6.Init.BaudRate = 9600;
	huart6.Init.WordLength = UART_WORDLENGTH_8B;
	huart6.Init.StopBits = UART_STOPBITS_1;
	huart6.Init.Parity = UART_PARITY_NONE;
	huart6.Init.Mode = UART_MODE_TX_RX;
	huart6.Init.HwFlowCtl = UART_HWCONTROL_NONE;
	huart6.Init.OverSampling = UART_OVERSAMPLING_16;
	if (HAL_UART_Init(&huart6) != HAL_OK)
	{
		Error_Handler();
	}
}

static void MX_DMA_Init(void)
{

	/* DMA controller clock enable */
	__HAL_RCC_DMA2_CLK_ENABLE();

	/* DMA interrupt init */
	/* DMA2_Stream1_IRQn interrupt configuration */
	HAL_NVIC_SetPriority(DMA2_Stream1_IRQn, 0, 0);
	HAL_NVIC_EnableIRQ(DMA2_Stream1_IRQn);
	/* DMA2_Stream6_IRQn interrupt configuration */
	HAL_NVIC_SetPriority(DMA2_Stream6_IRQn, 0, 0);
	HAL_NVIC_EnableIRQ(DMA2_Stream6_IRQn);
}

static void MX_GPIO_Init(void)
{
	GPIO_InitTypeDef GPIO_InitStruct = {0};

	/* GPIO Ports Clock Enable */
	__HAL_RCC_GPIOH_CLK_ENABLE();
	__HAL_RCC_GPIOA_CLK_ENABLE();
	__HAL_RCC_GPIOB_CLK_ENABLE();

	/*Configure GPIO pin Output Level */
	HAL_GPIO_WritePin(GPIOA, GPIO_PIN_4, GPIO_PIN_SET);

	/*Configure GPIO pin Output Level */
	HAL_GPIO_WritePin(GPIOB, GPIO_PIN_12, GPIO_PIN_SET);

	/*Configure GPIO pin : PA4 */
	GPIO_InitStruct.Pin = GPIO_PIN_4;
	GPIO_InitStruct.Mode = GPIO_MODE_OUTPUT_PP;
	GPIO_InitStruct.Pull = GPIO_NOPULL;
	GPIO_InitStruct.Speed = GPIO_SPEED_FREQ_LOW;
	HAL_GPIO_Init(GPIOA, &GPIO_InitStruct);

	/*Configure GPIO pin : PB12 */
	GPIO_InitStruct.Pin = GPIO_PIN_12;
	GPIO_InitStruct.Mode = GPIO_MODE_OUTPUT_PP;
	GPIO_InitStruct.Pull = GPIO_NOPULL;
	GPIO_InitStruct.Speed = GPIO_SPEED_FREQ_LOW;
	HAL_GPIO_Init(GPIOB, &GPIO_InitStruct);

}

/* USER CODE BEGIN 4 */
void HAL_UART_RxCpltCallback(UART_HandleTypeDef *huart)
{
	if (huart->Instance == USART1)
	{
		GPS_RxCpltCallback();
	}
	else if (huart->Instance == USART6)
	{
		E220_RxCallback(&lora);
	}
}

void HAL_UART_TxCpltCallback(UART_HandleTypeDef *huart)
{
	if (huart->Instance == USART6)
	{
		E220_TxCpltCallback(&lora);
	}
}

void HAL_UART_ErrorCallback(UART_HandleTypeDef *huart)
{
	if (huart->Instance == USART1)
	{
		GPS_ErrorCallback();
	}
	else if (huart->Instance == USART6)
	{
		E220_ErrorCallback(&lora);
	}
}
/* USER CODE END 4 */

void Error_Handler(void)
{
	/* USER CODE BEGIN Error_Handler_Debug */
	/* User can add his own implementation to report the HAL error return state */
	MOTORS_FAILSAFE_OUTPUT();
	__disable_irq();
	while (1)
	{
	}
	/* USER CODE END Error_Handler_Debug */
}
